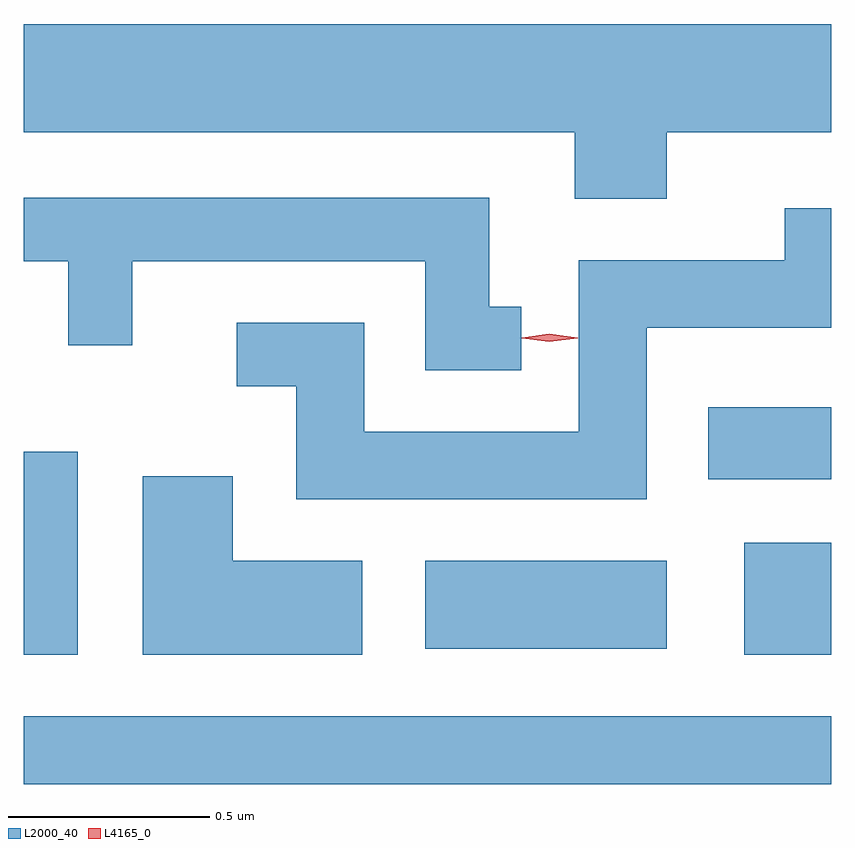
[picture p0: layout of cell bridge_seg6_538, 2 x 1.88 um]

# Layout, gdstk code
import gdstk
lib = gdstk.Library(unit=1e-6, precision=1e-09)
def R(c, l, rs):  # rectangles x0, y0, x1, y1
    for r in rs: c.add(gdstk.rectangle(r[:2], r[2:], *l))
def P(c, l, *ps):  # polygons
    for p in ps: c.add(gdstk.Polygon(p, *l))
L2000_40 = (2000, 40)
L4165_0 = (4165, 0)

bridge_seg6_538 = lib.new_cell('bridge_seg6_538')
R(bridge_seg6_538, L2000_40, [(884.016,1597.261,886.016,1597.429), (884.016,1597.581,884.149,1598.084), (885.801,1597.581,886.016,1597.859), (885.011,1597.596,885.609,1597.814), (885.711,1598.016,886.016,1598.194)])
P(bridge_seg6_538, L2000_40, [(885.609,1598.876),(886.016,1598.876),(886.016,1599.144),(884.016,1599.144),(884.016,1598.876),(885.381,1598.876),(885.381,1598.711),(885.609,1598.711)],
  [(885.248,1598.444),(885.169,1598.444),(885.169,1598.714),(884.016,1598.714),(884.016,1598.556),(884.126,1598.556),(884.126,1598.348),(884.284,1598.348),(884.284,1598.556),(885.011,1598.556),(885.011,1598.286),(885.248,1598.286)],
  [(885.559,1598.391),(886.016,1598.391),(886.016,1598.688),(885.901,1598.688),(885.901,1598.559),(885.391,1598.559),(885.391,1598.134),(884.859,1598.134),(884.859,1598.404),(884.543,1598.404),(884.543,1598.246),(884.691,1598.246),(884.691,1597.966),(885.559,1597.966)],
  [(884.854,1597.814),(884.534,1597.814),(884.534,1598.024),(884.311,1598.024),(884.311,1597.581),(884.854,1597.581)])
P(bridge_seg6_538, L4165_0, [(885.318,1598.357),(885.249,1598.366),(885.249,1598.367),(885.249,1598.367),(885.318,1598.377),(885.388,1598.367),(885.388,1598.367),(885.388,1598.366)])

lib.write_gds('bridge_seg6_538.gds')
